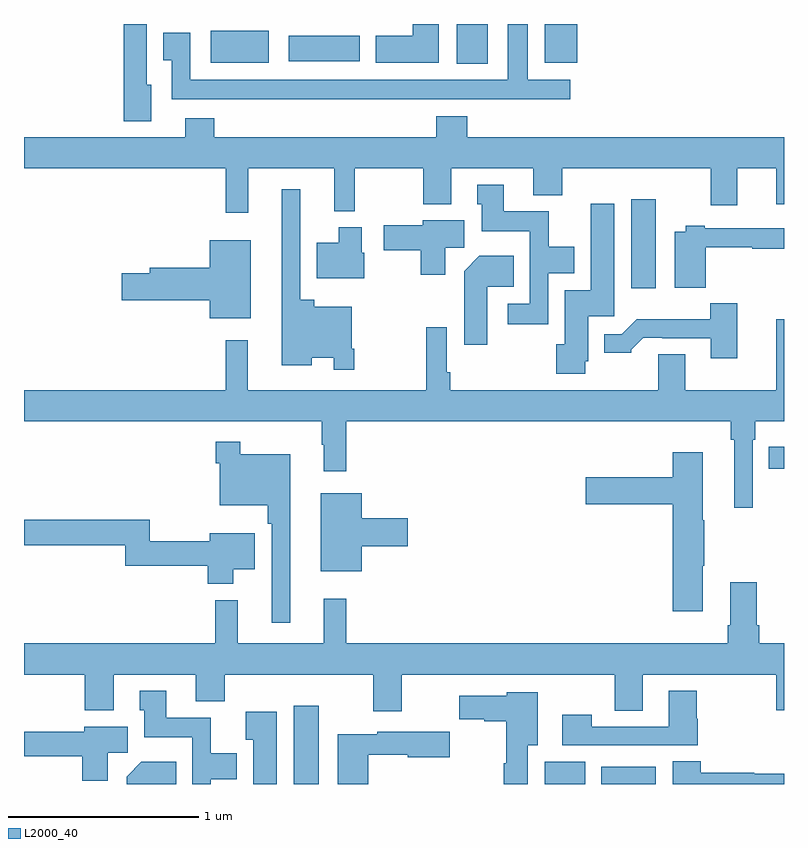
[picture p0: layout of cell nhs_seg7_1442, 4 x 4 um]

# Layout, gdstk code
import gdstk
lib = gdstk.Library(unit=1e-6, precision=1e-09)
def R(c, l, rs):  # rectangles x0, y0, x1, y1
    for r in rs: c.add(gdstk.rectangle(r[:2], r[2:], *l))
def P(c, l, *ps):  # polygons
    for p in ps: c.add(gdstk.Polygon(p, *l))
L2000_40 = (2000, 40)

nhs_seg7_1442 = lib.new_cell('nhs_seg7_1442')
R(nhs_seg7_1442, L2000_40, [(210.419,1040,210.55,1040.413), (211.742,1040,211.954,1040.116), (212.039,1040,212.326,1040.092), (212.92,1041.658,213,1041.774), (212.195,1042.608,212.326,1043.077), (211.277,1043.792,211.441,1044), (209.984,1043.795,210.289,1043.965), (211.742,1043.795,211.913,1044), (210.393,1043.804,210.766,1043.938)])
P(nhs_seg7_1442, L2000_40, [(211.183,1044),(211.046,1044),(211.046,1043.938),(210.851,1043.938),(210.851,1043.795),(211.183,1043.795)],
  [(211.876,1043.707),(211.651,1043.707),(211.651,1044),(211.547,1044),(211.547,1043.707),(209.874,1043.707),(209.874,1043.953),(209.732,1043.953),(209.732,1043.809),(209.777,1043.809),(209.777,1043.603),(211.876,1043.603)],
  [(209.671,1043.679),(209.647,1043.679),(209.647,1044),(209.525,1044),(209.525,1043.489),(209.671,1043.489)],
  [(210.179,1043.24),(210.632,1043.24),(210.632,1043.015),(210.742,1043.015),(210.742,1043.24),(211.102,1043.24),(211.102,1043.051),(211.249,1043.051),(211.249,1043.24),(211.679,1043.24),(211.679,1043.099),(211.832,1043.099),(211.832,1043.24),(212.615,1043.24),(212.615,1043.046),(212.755,1043.046),(212.755,1043.24),(212.96,1043.24),(212.96,1043.052),(213,1043.052),(213,1043.404),(211.334,1043.404),(211.334,1043.515),(211.169,1043.515),(211.169,1043.404),(210.002,1043.404),(210.002,1043.503),(209.849,1043.503),(209.849,1043.404),(209,1043.404),(209,1043.24),(210.061,1043.24),(210.061,1043.007),(210.179,1043.007)],
  [(211.758,1042.688),(211.897,1042.688),(211.897,1042.828),(211.761,1042.828),(211.761,1043.014),(211.525,1043.014),(211.525,1043.155),(211.385,1043.155),(211.385,1043.052),(211.409,1043.052),(211.409,1042.91),(211.662,1042.91),(211.662,1042.527),(211.545,1042.527),(211.545,1042.419),(211.758,1042.419)],
  [(210.739,1042.291),(210.726,1042.291),(210.726,1042.513),(210.527,1042.513),(210.527,1042.549),(210.453,1042.549),(210.453,1043.131),(210.356,1043.131),(210.356,1042.205),(210.514,1042.205),(210.514,1042.244),(210.63,1042.244),(210.63,1042.179),(210.739,1042.179)],
  [(211.953,1042.224),(211.969,1042.224),(211.969,1042.461),(212.107,1042.461),(212.107,1043.053),(211.982,1043.053),(211.982,1042.6),(211.847,1042.6),(211.847,1042.314),(211.801,1042.314),(211.801,1042.158),(211.953,1042.158)],
  [(211.216,1042.822),(211.318,1042.822),(211.318,1042.966),(211.098,1042.966),(211.098,1042.942),(210.894,1042.942),(210.894,1042.808),(211.087,1042.808),(211.087,1042.68),(211.216,1042.68)],
  [(212.588,1042.825),(212.832,1042.825),(212.832,1042.818),(213,1042.818),(213,1042.926),(212.584,1042.926),(212.584,1042.939),(212.484,1042.939),(212.484,1042.906),(212.426,1042.906),(212.426,1042.613),(212.588,1042.613)],
  [(210.79,1042.797),(210.778,1042.797),(210.778,1042.93),(210.656,1042.93),(210.656,1042.849),(210.542,1042.849),(210.542,1042.661),(210.79,1042.661)],
  [(210.193,1042.861),(209.978,1042.861),(209.978,1042.718),(209.663,1042.718),(209.663,1042.688),(209.514,1042.688),(209.514,1042.546),(209.978,1042.546),(209.978,1042.451),(210.193,1042.451)],
  [(211.438,1042.616),(211.577,1042.616),(211.577,1042.78),(211.397,1042.78),(211.316,1042.699),(211.316,1042.311),(211.438,1042.311)],
  [(212.755,1042.531),(212.613,1042.531),(212.613,1042.447),(212.224,1042.447),(212.145,1042.368),(212.054,1042.368),(212.054,1042.271),(212.196,1042.271),(212.196,1042.286),(212.26,1042.35),(212.359,1042.35),(212.359,1042.347),(212.615,1042.347),(212.615,1042.242),(212.755,1042.242)],
  [(212.835,1041.812),(212.849,1041.812),(212.849,1041.908),(213,1041.908),(213,1042.447),(212.96,1042.447),(212.96,1042.072),(212.479,1042.072),(212.479,1042.262),(212.339,1042.262),(212.339,1042.072),(211.244,1042.072),(211.244,1042.168),(211.224,1042.168),(211.224,1042.405),(211.116,1042.405),(211.116,1042.072),(210.178,1042.072),(210.178,1042.336),(210.061,1042.336),(210.061,1042.072),(209,1042.072),(209,1041.908),(210.567,1041.908),(210.567,1041.785),(210.578,1041.785),(210.578,1041.645),(210.695,1041.645),(210.695,1041.908),(212.719,1041.908),(212.719,1041.812),(212.738,1041.812),(212.738,1041.453),(212.835,1041.453)],
  [(210.4,1041.736),(210.139,1041.736),(210.139,1041.802),(210.01,1041.802),(210.01,1041.689),(210.03,1041.689),(210.03,1041.467),(210.283,1041.467),(210.283,1041.371),(210.303,1041.371),(210.303,1040.85),(210.4,1040.85)],
  [(212.572,1041.148),(212.58,1041.148),(212.58,1041.389),(212.572,1041.389),(212.572,1041.745),(212.414,1041.745),(212.414,1041.615),(211.956,1041.615),(211.956,1041.473),(212.414,1041.473),(212.414,1040.91),(212.572,1040.91)],
  [(210.778,1041.251),(211.021,1041.251),(211.021,1041.398),(210.778,1041.398),(210.778,1041.529),(210.563,1041.529),(210.563,1041.119),(210.778,1041.119)],
  [(210.1,1041.131),(210.214,1041.131),(210.214,1041.319),(209.978,1041.319),(209.978,1041.278),(209.662,1041.278),(209.662,1041.392),(209,1041.392),(209,1041.256),(209.533,1041.256),(209.533,1041.15),(209.966,1041.15),(209.966,1041.053),(210.1,1041.053)],
  [(210.987,1040.576),(212.11,1040.576),(212.11,1040.386),(212.257,1040.386),(212.257,1040.576),(212.96,1040.576),(212.96,1040.388),(213,1040.388),(213,1040.74),(212.87,1040.74),(212.87,1040.836),(212.857,1040.836),(212.857,1041.061),(212.717,1041.061),(212.717,1040.836),(212.705,1040.836),(212.705,1040.74),(210.695,1040.74),(210.695,1040.974),(210.578,1040.974),(210.578,1040.74),(210.125,1040.74),(210.125,1040.968),(210.007,1040.968),(210.007,1040.74),(209,1040.74),(209,1040.576),(209.321,1040.576),(209.321,1040.387),(209.473,1040.387),(209.473,1040.576),(209.903,1040.576),(209.903,1040.435),(210.056,1040.435),(210.056,1040.576),(210.839,1040.576),(210.839,1040.382),(210.987,1040.382)],
  [(209.982,1040.024),(210.121,1040.024),(210.121,1040.163),(209.984,1040.163),(209.984,1040.35),(209.749,1040.35),(209.749,1040.491),(209.609,1040.491),(209.609,1040.388),(209.633,1040.388),(209.633,1040.246),(209.886,1040.246),(209.886,1040),(209.982,1040)],
  [(212.546,1040.343),(212.541,1040.343),(212.541,1040.491),(212.393,1040.491),(212.393,1040.301),(211.989,1040.301),(211.989,1040.365),(211.833,1040.365),(211.833,1040.205),(212.546,1040.205)],
  [(211.651,1040.204),(211.705,1040.204),(211.705,1040.482),(211.542,1040.482),(211.542,1040.464),(211.292,1040.464),(211.292,1040.341),(211.422,1040.341),(211.422,1040.33),(211.538,1040.33),(211.538,1040.108),(211.526,1040.108),(211.526,1040),(211.651,1040)],
  [(210.331,1040.38),(210.167,1040.38),(210.167,1040.234),(210.206,1040.234),(210.206,1040),(210.331,1040)],
  [(209.44,1040.164),(209.545,1040.164),(209.545,1040.302),(209.318,1040.302),(209.318,1040.275),(209,1040.275),(209,1040.146),(209.306,1040.146),(209.306,1040.016),(209.44,1040.016)],
  [(210.812,1040.153),(211.02,1040.153),(211.02,1040.141),(211.24,1040.141),(211.24,1040.274),(211.13,1040.274),(211.13,1040.275),(210.858,1040.275),(210.858,1040.263),(210.65,1040.263),(210.65,1040),(210.812,1040)],
  [(213,1040.053),(212.844,1040.053),(212.844,1040.06),(212.561,1040.06),(212.561,1040.12),(212.414,1040.12),(212.414,1040),(213,1040)],
  [(209.801,1040.116),(209.618,1040.116),(209.54,1040.038),(209.54,1040),(209.801,1040)])

lib.write_gds('nhs_seg7_1442.gds')
